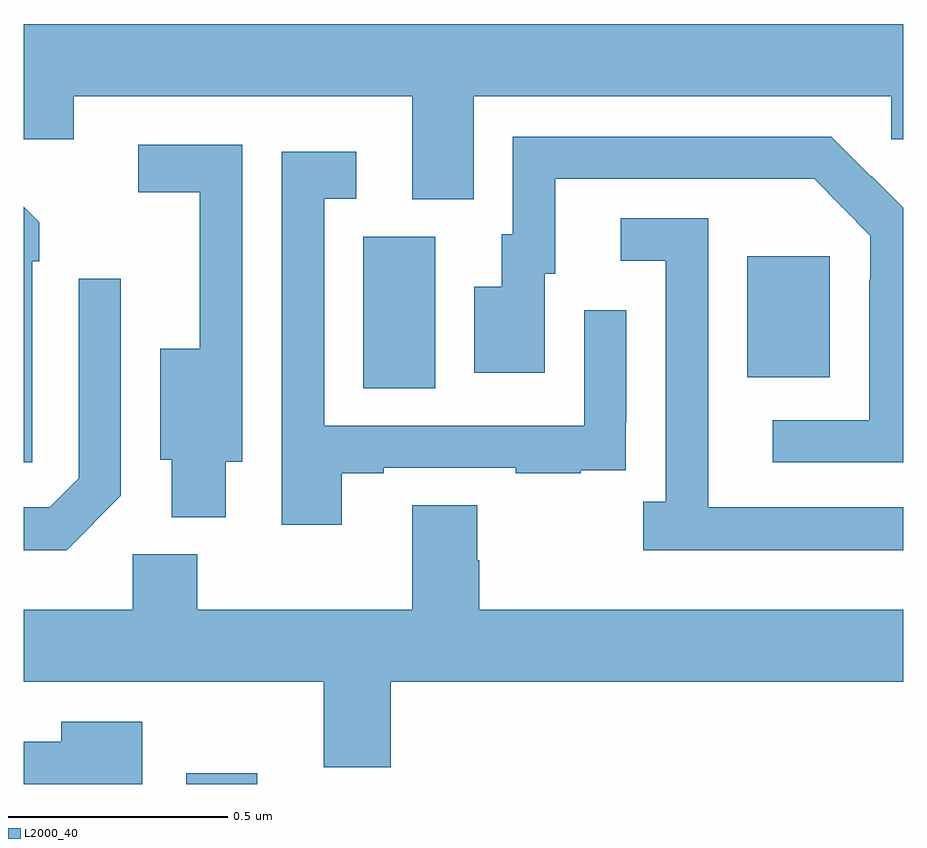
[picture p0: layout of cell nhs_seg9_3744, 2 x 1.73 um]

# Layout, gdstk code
import gdstk
lib = gdstk.Library(unit=1e-6, precision=1e-09)
def R(c, l, rs):  # rectangles x0, y0, x1, y1
    for r in rs: c.add(gdstk.rectangle(r[:2], r[2:], *l))
def P(c, l, *ps):  # polygons
    for p in ps: c.add(gdstk.Polygon(p, *l))
L2000_40 = (2000, 40)

nhs_seg9_3744 = lib.new_cell('nhs_seg9_3744')
R(nhs_seg9_3744, L2000_40, [(157.37,1217.5,157.531,1217.524), (157.772,1218.4,157.936,1218.744), (158.645,1218.425,158.833,1218.7)])
P(nhs_seg9_3744, L2000_40, [(158.023,1219.064),(158.973,1219.064),(158.973,1218.966),(159,1218.966),(159,1219.228),(157,1219.228),(157,1218.966),(157.114,1218.966),(157.114,1219.064),(157.883,1219.064),(157.883,1218.829),(158.023,1218.829)],
  [(159,1218.81),(158.928,1218.882),(158.927,1218.881),(158.836,1218.972),(158.112,1218.972),(158.112,1218.75),(158.087,1218.75),(158.087,1218.631),(158.024,1218.631),(158.024,1218.435),(158.185,1218.435),(158.185,1218.66),(158.209,1218.66),(158.209,1218.876),(158.797,1218.876),(158.925,1218.747),(158.925,1218.647),(158.922,1218.647),(158.922,1218.327),(158.703,1218.327),(158.703,1218.231),(159,1218.231)],
  [(157.459,1218.233),(157.497,1218.233),(157.497,1218.954),(157.26,1218.954),(157.26,1218.846),(157.4,1218.846),(157.4,1218.49),(157.31,1218.49),(157.31,1218.237),(157.337,1218.237),(157.337,1218.107),(157.459,1218.107)],
  [(157.723,1218.207),(157.819,1218.207),(157.819,1218.219),(158.119,1218.219),(158.119,1218.207),(158.267,1218.207),(158.267,1218.213),(158.369,1218.213),(158.369,1218.322),(158.37,1218.322),(158.37,1218.577),(158.274,1218.577),(158.274,1218.315),(157.683,1218.315),(157.683,1218.831),(157.756,1218.831),(157.756,1218.937),(157.587,1218.937),(157.587,1218.09),(157.723,1218.09)],
  [(157.02,1218.689),(157.035,1218.689),(157.035,1218.777),(157,1218.812),(157,1218.231),(157.02,1218.231)],
  [(159,1218.129),(158.557,1218.129),(158.557,1218.329),(158.556,1218.329),(158.556,1218.786),(158.358,1218.786),(158.358,1218.69),(158.46,1218.69),(158.46,1218.142),(158.409,1218.142),(158.409,1218.032),(159,1218.032)],
  [(157.221,1218.155),(157.221,1218.649),(157.125,1218.649),(157.125,1218.195),(157.059,1218.129),(157,1218.129),(157,1218.032),(157.098,1218.032)],
  [(157.835,1217.732),(159,1217.732),(159,1217.896),(158.036,1217.896),(158.036,1218.009),(158.031,1218.009),(158.031,1218.134),(157.883,1218.134),(157.883,1217.896),(157.395,1217.896),(157.395,1218.022),(157.248,1218.022),(157.248,1217.896),(157,1217.896),(157,1217.732),(157.682,1217.732),(157.682,1217.538),(157.835,1217.538)],
  [(157.27,1217.641),(157.085,1217.641),(157.085,1217.596),(157,1217.596),(157,1217.5),(157.27,1217.5)])

lib.write_gds('nhs_seg9_3744.gds')
